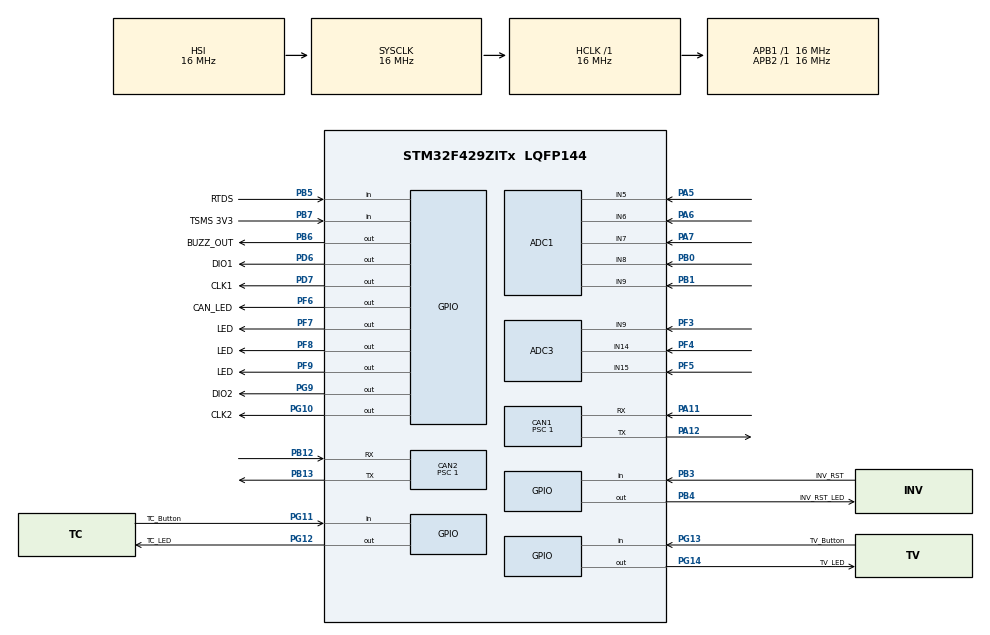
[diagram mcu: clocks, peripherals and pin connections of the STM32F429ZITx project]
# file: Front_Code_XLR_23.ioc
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ADC1.Channel-0\#ChannelRegularConversion=ADC_CHANNEL_5
ADC1.NbrOfConversionFlag=1
ADC1.Rank-0\#ChannelRegularConversion=1
ADC1.SamplingTime-0\#ChannelRegularConversion=ADC_SAMPLETIME_3CYCLES
ADC1.master=1
ADC3.Channel-0\#ChannelRegularConversion=ADC_CHANNEL_9
ADC3.NbrOfConversionFlag=1
ADC3.Rank-0\#ChannelRegularConversion=1
ADC3.SamplingTime-0\#ChannelRegularConversion=ADC_SAMPLETIME_3CYCLES
CAN1.AWUM=ENABLE
CAN1.BS1=CAN_BS1_11TQ
CAN1.BS2=CAN_BS2_4TQ
CAN1.CalculateBaudRate=1000000
CAN1.CalculateTimeBit=1000
CAN1.CalculateTimeQuantum=62.5
CAN1.NART=ENABLE
CAN1.Prescaler=1
CAN2.AWUM=ENABLE
CAN2.BS1=CAN_BS1_11TQ
CAN2.BS2=CAN_BS2_4TQ
CAN2.CalculateBaudRate=1000000
CAN2.CalculateTimeBit=1000
CAN2.CalculateTimeQuantum=62.5
CAN2.NART=ENABLE
CAN2.Prescaler=1
Mcu.Family=STM32F4
Mcu.Name=STM32F429ZITx
Mcu.Package=LQFP144
NVIC.ADC_IRQn=true\:0\:0\:false\:false\:true\:true\:true\:true
NVIC.CAN1_RX0_IRQn=true\:0\:0\:false\:false\:true\:true\:true\:true
NVIC.CAN1_RX1_IRQn=true\:0\:0\:false\:false\:true\:true\:true\:true
NVIC.CAN1_TX_IRQn=true\:0\:0\:false\:false\:true\:true\:true\:true
NVIC.CAN2_RX0_IRQn=true\:0\:0\:false\:false\:true\:true\:true\:true
NVIC.CAN2_RX1_IRQn=true\:0\:0\:false\:false\:true\:true\:true\:true
NVIC.CAN2_TX_IRQn=true\:0\:0\:false\:false\:true\:true\:true\:true
NVIC.PriorityGroup=NVIC_PRIORITYGROUP_4
PA11.Mode=CAN_Activate
PA11.Signal=CAN1_RX
PA12.Mode=CAN_Activate
PA12.Signal=CAN1_TX
PA5.Signal=ADCx_IN5
PA6.Signal=ADCx_IN6
PA7.Signal=ADCx_IN7
PB0.Signal=ADCx_IN8
PB1.Signal=ADCx_IN9
PB12.Mode=CAN_Activate
PB12.Signal=CAN2_RX
PB13.Mode=CAN_Activate
PB13.Signal=CAN2_TX
PB3.GPIO_Label=INV_RST
PB3.Signal=GPIO_Input
PB4.GPIO_Label=INV_RST_LED
PB4.Signal=GPIO_Output
PB5.GPIO_Label=RTDS
PB5.Signal=GPIO_Input
PB6.GPIO_Label=BUZZ_OUT
PB6.Signal=GPIO_Output
PB7.GPIO_Label=TSMS 3V3
PB7.Signal=GPIO_Input
PD6.GPIO_Label=DIO1
PD6.Signal=GPIO_Output
PD7.GPIO_Label=CLK1
PD7.Signal=GPIO_Output
PF3.Mode=IN9
PF3.Signal=ADC3_IN9
PF4.Mode=IN14
PF4.Signal=ADC3_IN14
PF5.Mode=IN15
PF5.Signal=ADC3_IN15
PF6.GPIO_Label=CAN_LED
PF6.Signal=GPIO_Output
PF7.GPIO_Label=LED
PF7.Signal=GPIO_Output
PF8.GPIO_Label=LED
PF8.Signal=GPIO_Output
PF9.GPIO_Label=LED
PF9.Signal=GPIO_Output
PG10.GPIO_Label=CLK2
PG10.Signal=GPIO_Output
PG11.GPIO_Label=TC_Button
PG11.Signal=GPIO_Input
PG12.GPIO_Label=TC_LED
PG12.Signal=GPIO_Output
PG13.GPIO_Label=TV_Button
PG13.Signal=GPIO_Input
PG14.GPIO_Label=TV_LED
PG14.Signal=GPIO_Output
PG9.GPIO_Label=DIO2
PG9.Signal=GPIO_Output
ProjectManager.HeapSize=0x200
ProjectManager.StackSize=0x400
ProjectManager.TargetToolchain=STM32CubeIDE
RCC.AHBFreq_Value=16000000
RCC.APB1Freq_Value=16000000
RCC.APB2Freq_Value=16000000
RCC.CortexFreq_Value=16000000
RCC.HSE_VALUE=25000000
RCC.HSI_VALUE=16000000
RCC.LSE_VALUE=32768
RCC.SYSCLKFreq_VALUE=16000000
RCC.VCOOutputFreq_Value=192000000
SH.ADCx_IN5.0=ADC1_IN5,IN5
SH.ADCx_IN6.0=ADC1_IN6,IN6
SH.ADCx_IN7.0=ADC1_IN7,IN7
SH.ADCx_IN8.0=ADC1_IN8,IN8
SH.ADCx_IN9.0=ADC1_IN9,IN9
board=custom

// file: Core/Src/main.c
/* USER CODE BEGIN Header */
/**
  ******************************************************************************
  * @file           : main.c
  * @brief          : Main program body
  ******************************************************************************
  * @attention
  *
  * Copyright (c) 2023 STMicroelectronics.
  * All rights reserved.
  *
  * This software is licensed under terms that can be found in the LICENSE file
  * in the root directory of this software component.
  * If no LICENSE file comes with this software, it is provided AS-IS.
  *
  ******************************************************************************
  */
/* USER CODE END Header */
#include "main.h"

ADC_HandleTypeDef hadc1;
ADC_HandleTypeDef hadc3;

CAN_HandleTypeDef hcan1;
CAN_HandleTypeDef hcan2;

void SystemClock_Config(void);
static void MX_GPIO_Init(void);
static void MX_ADC1_Init(void);
static void MX_ADC3_Init(void);
static void MX_CAN1_Init(void);
static void MX_CAN2_Init(void);
/* USER CODE BEGIN PFP */
void HAL_CAN_RxFifo0MsgPendingCallback(CAN_HandleTypeDef *hcanOne);
void HAL_CAN_RxFifo1MsgPendingCallback(CAN_HandleTypeDef *hcanTwo);
/* USER CODE END PFP */

/* USER CODE BEGIN 0 */

uint16_t tsmsFiveOff = 0;
uint16_t rtds = 0;
uint16_t implausiblity = 0;

uint16_t apps1Raw = 0, apps2Raw = 0;

float app1 = 0, app2 = 0;

/* USER CODE END 0 */

int main(void)
{

  /* MCU Configuration--------------------------------------------------------*/

  /* Reset of all peripherals, Initializes the Flash interface and the Systick. */
  HAL_Init();

  /* Configure the system clock */
  SystemClock_Config();

  /* Initialize all configured peripherals */
  MX_GPIO_Init();
  MX_ADC1_Init();
  MX_ADC3_Init();
  MX_CAN1_Init();
  MX_CAN2_Init();
  /* USER CODE BEGIN 2 */
  CAN_Start();
  /* USER CODE END 2 */

  /* Infinite loop */
  while (1)
  {

    /* USER CODE BEGIN 3 */

	apps1Raw = ADC_Read(&hadc1, ADC_CHANNEL_9);
	apps2Raw = ADC_Read(&hadc1, ADC_CHANNEL_8);

	uint16_t apps1Range[] = {0, 4095};
	uint16_t apps2Range[] = {0, 4095};

	app1 = map(apps1Raw, apps1Range[0], apps1Range[1]);
	app2 = map(apps2Raw, apps2Range[0], apps2Range[1]);

	implausiblityCheck();

  }
  /* USER CODE END 3 */
}

void SystemClock_Config(void)
{
  RCC_OscInitTypeDef RCC_OscInitStruct = {0};
  RCC_ClkInitTypeDef RCC_ClkInitStruct = {0};

  /** Configure the main internal regulator output voltage
  */
  __HAL_RCC_PWR_CLK_ENABLE();
  __HAL_PWR_VOLTAGESCALING_CONFIG(PWR_REGULATOR_VOLTAGE_SCALE3);

  /** Initializes the RCC Oscillators according to the specified parameters
  * in the RCC_OscInitTypeDef structure.
  */
  RCC_OscInitStruct.OscillatorType = RCC_OSCILLATORTYPE_HSI;
  RCC_OscInitStruct.HSIState = RCC_HSI_ON;
  RCC_OscInitStruct.HSICalibrationValue = RCC_HSICALIBRATION_DEFAULT;
  RCC_OscInitStruct.PLL.PLLState = RCC_PLL_NONE;
  if (HAL_RCC_OscConfig(&RCC_OscInitStruct) != HAL_OK)
  {
    Error_Handler();
  }

  /** Initializes the CPU, AHB and APB buses clocks
  */
  RCC_ClkInitStruct.ClockType = RCC_CLOCKTYPE_HCLK|RCC_CLOCKTYPE_SYSCLK
                              |RCC_CLOCKTYPE_PCLK1|RCC_CLOCKTYPE_PCLK2;
  RCC_ClkInitStruct.SYSCLKSource = RCC_SYSCLKSOURCE_HSI;
  RCC_ClkInitStruct.AHBCLKDivider = RCC_SYSCLK_DIV1;
  RCC_ClkInitStruct.APB1CLKDivider = RCC_HCLK_DIV1;
  RCC_ClkInitStruct.APB2CLKDivider = RCC_HCLK_DIV1;

  if (HAL_RCC_ClockConfig(&RCC_ClkInitStruct, FLASH_LATENCY_0) != HAL_OK)
  {
    Error_Handler();
  }
}

static void MX_ADC1_Init(void)
{

  ADC_ChannelConfTypeDef sConfig = {0};

  /** Configure the global features of the ADC (Clock, Resolution, Data Alignment and number of conversion)
  */
  hadc1.Instance = ADC1;
  hadc1.Init.ClockPrescaler = ADC_CLOCK_SYNC_PCLK_DIV2;
  hadc1.Init.Resolution = ADC_RESOLUTION_12B;
  hadc1.Init.ScanConvMode = DISABLE;
  hadc1.Init.ContinuousConvMode = DISABLE;
  hadc1.Init.DiscontinuousConvMode = DISABLE;
  hadc1.Init.ExternalTrigConvEdge = ADC_EXTERNALTRIGCONVEDGE_NONE;
  hadc1.Init.ExternalTrigConv = ADC_SOFTWARE_START;
  hadc1.Init.DataAlign = ADC_DATAALIGN_RIGHT;
  hadc1.Init.NbrOfConversion = 1;
  hadc1.Init.DMAContinuousRequests = DISABLE;
  hadc1.Init.EOCSelection = ADC_EOC_SINGLE_CONV;
  if (HAL_ADC_Init(&hadc1) != HAL_OK)
  {
    Error_Handler();
  }

  /** Configure for the selected ADC regular channel its corresponding rank in the sequencer and its sample time.
  */
  sConfig.Channel = ADC_CHANNEL_5;
  sConfig.Rank = 1;
  sConfig.SamplingTime = ADC_SAMPLETIME_3CYCLES;
  if (HAL_ADC_ConfigChannel(&hadc1, &sConfig) != HAL_OK)
  {
    Error_Handler();
  }

}

static void MX_ADC3_Init(void)
{

  ADC_ChannelConfTypeDef sConfig = {0};

  /** Configure the global features of the ADC (Clock, Resolution, Data Alignment and number of conversion)
  */
  hadc3.Instance = ADC3;
  hadc3.Init.ClockPrescaler = ADC_CLOCK_SYNC_PCLK_DIV2;
  hadc3.Init.Resolution = ADC_RESOLUTION_12B;
  hadc3.Init.ScanConvMode = DISABLE;
  hadc3.Init.ContinuousConvMode = DISABLE;
  hadc3.Init.DiscontinuousConvMode = DISABLE;
  hadc3.Init.ExternalTrigConvEdge = ADC_EXTERNALTRIGCONVEDGE_NONE;
  hadc3.Init.ExternalTrigConv = ADC_SOFTWARE_START;
  hadc3.Init.DataAlign = ADC_DATAALIGN_RIGHT;
  hadc3.Init.NbrOfConversion = 1;
  hadc3.Init.DMAContinuousRequests = DISABLE;
  hadc3.Init.EOCSelection = ADC_EOC_SINGLE_CONV;
  if (HAL_ADC_Init(&hadc3) != HAL_OK)
  {
    Error_Handler();
  }

  /** Configure for the selected ADC regular channel its corresponding rank in the sequencer and its sample time.
  */
  sConfig.Channel = ADC_CHANNEL_9;
  sConfig.Rank = 1;
  sConfig.SamplingTime = ADC_SAMPLETIME_3CYCLES;
  if (HAL_ADC_ConfigChannel(&hadc3, &sConfig) != HAL_OK)
  {
    Error_Handler();
  }

}

static void MX_CAN1_Init(void)
{

  hcan1.Instance = CAN1;
  hcan1.Init.Prescaler = 1;
  hcan1.Init.Mode = CAN_MODE_NORMAL;
  hcan1.Init.SyncJumpWidth = CAN_SJW_1TQ;
  hcan1.Init.TimeSeg1 = CAN_BS1_11TQ;
  hcan1.Init.TimeSeg2 = CAN_BS2_4TQ;
  hcan1.Init.TimeTriggeredMode = DISABLE;
  hcan1.Init.AutoBusOff = DISABLE;
  hcan1.Init.AutoWakeUp = ENABLE;
  hcan1.Init.AutoRetransmission = ENABLE;
  hcan1.Init.ReceiveFifoLocked = DISABLE;
  hcan1.Init.TransmitFifoPriority = DISABLE;
  if (HAL_CAN_Init(&hcan1) != HAL_OK)
  {
    Error_Handler();
  }

}

static void MX_CAN2_Init(void)
{

  hcan2.Instance = CAN2;
  hcan2.Init.Prescaler = 1;
  hcan2.Init.Mode = CAN_MODE_NORMAL;
  hcan2.Init.SyncJumpWidth = CAN_SJW_1TQ;
  hcan2.Init.TimeSeg1 = CAN_BS1_11TQ;
  hcan2.Init.TimeSeg2 = CAN_BS2_4TQ;
  hcan2.Init.TimeTriggeredMode = DISABLE;
  hcan2.Init.AutoBusOff = DISABLE;
  hcan2.Init.AutoWakeUp = ENABLE;
  hcan2.Init.AutoRetransmission = ENABLE;
  hcan2.Init.ReceiveFifoLocked = DISABLE;
  hcan2.Init.TransmitFifoPriority = DISABLE;
  if (HAL_CAN_Init(&hcan2) != HAL_OK)
  {
    Error_Handler();
  }

}

static void MX_GPIO_Init(void)
{
  GPIO_InitTypeDef GPIO_InitStruct = {0};

  /* GPIO Ports Clock Enable */
  __HAL_RCC_GPIOF_CLK_ENABLE();
  __HAL_RCC_GPIOA_CLK_ENABLE();
  __HAL_RCC_GPIOB_CLK_ENABLE();
  __HAL_RCC_GPIOD_CLK_ENABLE();
  __HAL_RCC_GPIOG_CLK_ENABLE();

  /*Configure GPIO pin Output Level */
  HAL_GPIO_WritePin(GPIOF, CAN_LED_Pin|LED_Pin|LEDF8_Pin|LEDF9_Pin, GPIO_PIN_RESET);

  /*Configure GPIO pin Output Level */
  HAL_GPIO_WritePin(GPIOD, DIO1_Pin|CLK1_Pin, GPIO_PIN_RESET);

  /*Configure GPIO pin Output Level */
  HAL_GPIO_WritePin(GPIOG, DIO2_Pin|CLK2_Pin|TC_LED_Pin|TV_LED_Pin, GPIO_PIN_RESET);

  /*Configure GPIO pin Output Level */
  HAL_GPIO_WritePin(GPIOB, INV_RST_LED_Pin|BUZZ_OUT_Pin, GPIO_PIN_RESET);

  /*Configure GPIO pins : CAN_LED_Pin LED_Pin LEDF8_Pin LEDF9_Pin */
  GPIO_InitStruct.Pin = CAN_LED_Pin|LED_Pin|LEDF8_Pin|LEDF9_Pin;
  GPIO_InitStruct.Mode = GPIO_MODE_OUTPUT_PP;
  GPIO_InitStruct.Pull = GPIO_NOPULL;
  GPIO_InitStruct.Speed = GPIO_SPEED_FREQ_LOW;
  HAL_GPIO_Init(GPIOF, &GPIO_InitStruct);

  /*Configure GPIO pins : DIO1_Pin CLK1_Pin */
  GPIO_InitStruct.Pin = DIO1_Pin|CLK1_Pin;
  GPIO_InitStruct.Mode = GPIO_MODE_OUTPUT_PP;
  GPIO_InitStruct.Pull = GPIO_NOPULL;
  GPIO_InitStruct.Speed = GPIO_SPEED_FREQ_LOW;
  HAL_GPIO_Init(GPIOD, &GPIO_InitStruct);

  /*Configure GPIO pins : DIO2_Pin CLK2_Pin TC_LED_Pin TV_LED_Pin */
  GPIO_InitStruct.Pin = DIO2_Pin|CLK2_Pin|TC_LED_Pin|TV_LED_Pin;
  GPIO_InitStruct.Mode = GPIO_MODE_OUTPUT_PP;
  GPIO_InitStruct.Pull = GPIO_NOPULL;
  GPIO_InitStruct.Speed = GPIO_SPEED_FREQ_LOW;
  HAL_GPIO_Init(GPIOG, &GPIO_InitStruct);

  /*Configure GPIO pins : TC_Button_Pin TV_Button_Pin */
  GPIO_InitStruct.Pin = TC_Button_Pin|TV_Button_Pin;
  GPIO_InitStruct.Mode = GPIO_MODE_INPUT;
  GPIO_InitStruct.Pull = GPIO_NOPULL;
  HAL_GPIO_Init(GPIOG, &GPIO_InitStruct);

  /*Configure GPIO pins : INV_RST_Pin RTDS_Pin TSMS_3V3_Pin */
  GPIO_InitStruct.Pin = INV_RST_Pin|RTDS_Pin|TSMS_3V3_Pin;
  GPIO_InitStruct.Mode = GPIO_MODE_INPUT;
  GPIO_InitStruct.Pull = GPIO_NOPULL;
  HAL_GPIO_Init(GPIOB, &GPIO_InitStruct);

  /*Configure GPIO pins : INV_RST_LED_Pin BUZZ_OUT_Pin */
  GPIO_InitStruct.Pin = INV_RST_LED_Pin|BUZZ_OUT_Pin;
  GPIO_InitStruct.Mode = GPIO_MODE_OUTPUT_PP;
  GPIO_InitStruct.Pull = GPIO_NOPULL;
  GPIO_InitStruct.Speed = GPIO_SPEED_FREQ_LOW;
  HAL_GPIO_Init(GPIOB, &GPIO_InitStruct);

}

/* USER CODE BEGIN 4 */

double map(uint16_t value, uint16_t in_min, uint16_t in_max, uint16_t offset = 0){
	double temp = ((double)(value - in_min)) / ((double)(in_max - in_min)) * 100.00;
	temp = temp - (double)offset;
	if (temp < 0.00)return 0.00;
	else if (temp > 100.00) return 100.00;
	else return temp;
	}

void implausiblityCheck(uint16_t* apps1Range, uint16_t* apps2Range){ // Difference of 10 percent pedal travel, for more than 100ms

	if(apps1Raw + 10 < apps2Raw || apps2Raw  < apps1Raw + 10 || apps2Raw + 10 < apps1Raw || apps1Raw < apps2Raw + 10){ //Checking for short of lines
		rtds = 0;
	}

	if(app1 + 10 < app2  || app1  < app2 + 10){ //For checking of implausiblity
		rtds = 0;
	}
}

void softBSPD(){
	if(s_bspd==0 && brk>softBSPD_brk_threshold && apps_avg>softBSPD_apps_threshold){
	      s_bspd=1;
	      rtds=0;
	    }
	if(s_bspd==1 && apps_avg<softBSPD_apps_restore){
	      s_bspd=0;
	      rtds=1;
	    }
}

/* USER CODE END 4 */

void Error_Handler(void)
{
  __disable_irq();
  while (1)
  {
  }
}
